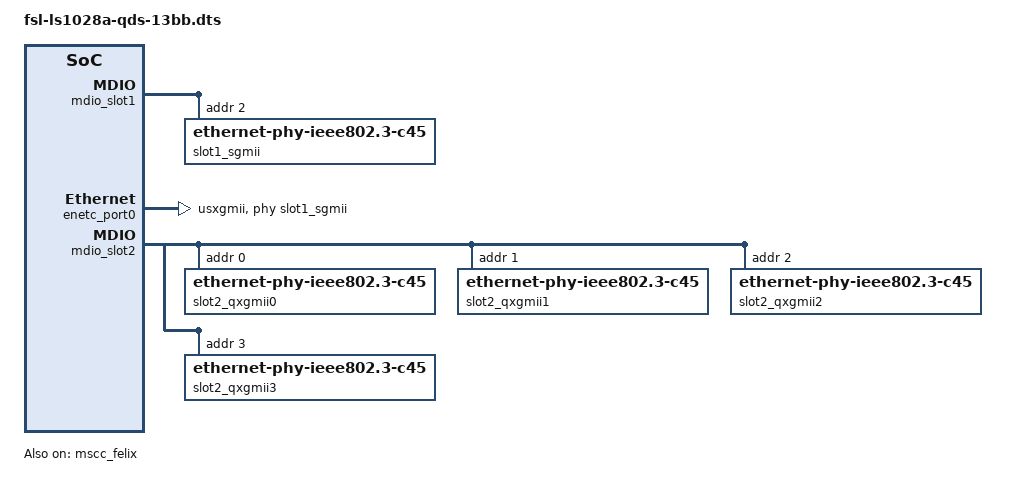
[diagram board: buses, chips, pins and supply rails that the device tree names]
// SPDX-License-Identifier: (GPL-2.0+ OR MIT)
/*
 * Device Tree fragment for LS1028A QDS board, serdes 13bb
 *
 * Copyright 2019-2021 NXP
 *
 * Requires a LS1028A QDS board with lane B rework.
 * Requires a SCH-30841 card with lane A of connector rewired to PHY lane C.
 * Set-up is a SCH-30842 card in slot 1 and SCH-30841 in slot 2.
 */

/dts-v1/;
/plugin/;

&mdio_slot1 {
	#address-cells = <1>;
	#size-cells = <0>;

	slot1_sgmii: ethernet-phy@2 {
		/* AQR112 */
		reg = <0x2>;
		compatible = "ethernet-phy-ieee802.3-c45";
	};
};

&enetc_port0 {
	phy-handle = <&slot1_sgmii>;
	phy-mode = "usxgmii";
	managed = "in-band-status";
	status = "okay";
};

&mdio_slot2 {
	#address-cells = <1>;
	#size-cells = <0>;

	/* 4 ports on AQR412 */
	slot2_qxgmii0: ethernet-phy@0 {
		reg = <0x0>;
		compatible = "ethernet-phy-ieee802.3-c45";
	};

	slot2_qxgmii1: ethernet-phy@1 {
		reg = <0x1>;
		compatible = "ethernet-phy-ieee802.3-c45";
	};

	slot2_qxgmii2: ethernet-phy@2 {
		reg = <0x2>;
		compatible = "ethernet-phy-ieee802.3-c45";
	};

	slot2_qxgmii3: ethernet-phy@3 {
		reg = <0x3>;
		compatible = "ethernet-phy-ieee802.3-c45";
	};
};

&mscc_felix_ports {
	port@0 {
		status = "okay";
		phy-handle = <&slot2_qxgmii0>;
		phy-mode = "usxgmii";
		managed = "in-band-status";
	};

	port@1 {
		status = "okay";
		phy-handle = <&slot2_qxgmii1>;
		phy-mode = "usxgmii";
		managed = "in-band-status";
	};

	port@2 {
		status = "okay";
		phy-handle = <&slot2_qxgmii2>;
		phy-mode = "usxgmii";
		managed = "in-band-status";
	};

	port@3 {
		status = "okay";
		phy-handle = <&slot2_qxgmii3>;
		phy-mode = "usxgmii";
		managed = "in-band-status";
	};
};

&mscc_felix {
	status = "okay";
};
